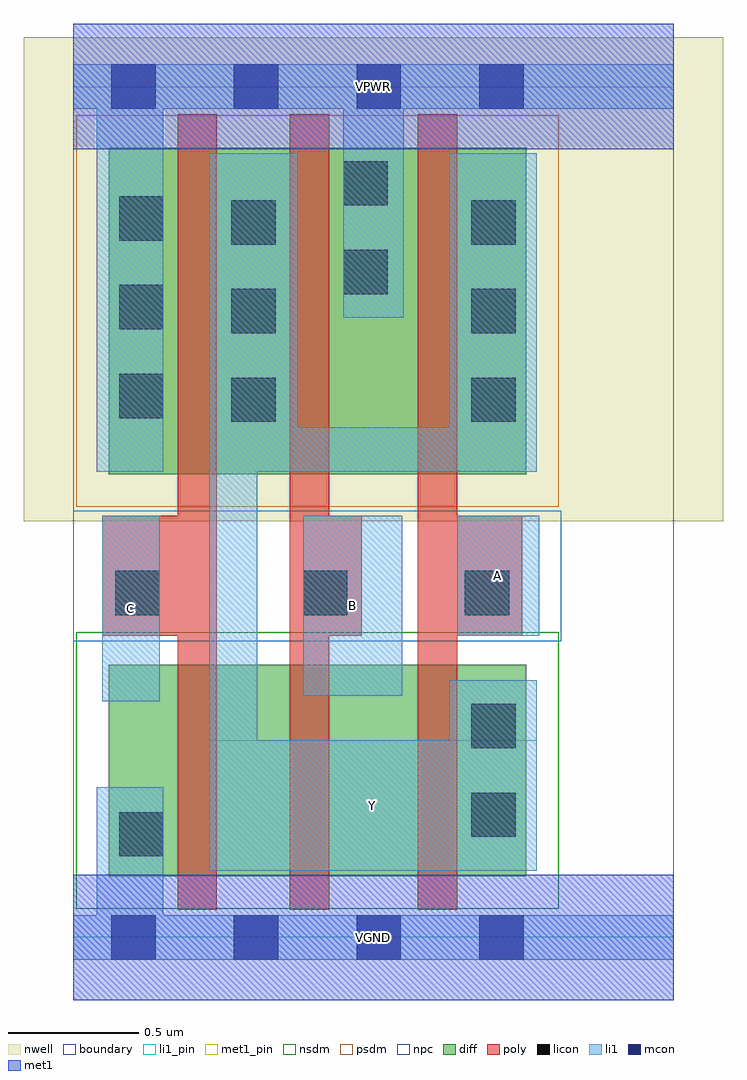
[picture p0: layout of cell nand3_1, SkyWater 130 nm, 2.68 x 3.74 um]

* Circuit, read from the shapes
.subckt nand3_1 A B C VGND VPWR Y
XM1 n1 C VGND VSUBS sky130_fd_pr__nfet_01v8 w=0.81 l=0.15
XM2 n2 B n1 VSUBS sky130_fd_pr__nfet_01v8 w=0.81 l=0.15
XM3 Y A n2 VSUBS sky130_fd_pr__nfet_01v8 w=0.81 l=0.15
XM4 Y C VPWR n3 sky130_fd_pr__pfet_01v8 w=1.25 l=0.15
XM5 VPWR B Y n3 sky130_fd_pr__pfet_01v8 w=1.25 l=0.15
XM6 Y A VPWR n3 sky130_fd_pr__pfet_01v8 w=1.25 l=0.15
.ends

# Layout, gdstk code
import gdstk
lib = gdstk.Library(unit=1e-6, precision=1e-09)
def R(c, l, rs):  # rectangles x0, y0, x1, y1
    for r in rs: c.add(gdstk.rectangle(r[:2], r[2:], *l))
def A(c, l, x, y, w, h, nx, ny, dx, dy):  # array of equal rectangles
    R(c, l, [(x+i*dx, y+j*dy, x+i*dx+w, y+j*dy+h) for i in range(nx) for j in range(ny)])
nwell = (64, 20)
diff = (65, 20)
poly = (66, 20)
licon = (66, 44)
li1_pin = (67, 16)
li1 = (67, 20)
mcon = (67, 44)
met1_pin = (68, 16)
met1 = (68, 20)
nsdm = (93, 44)
psdm = (94, 20)
npc = (95, 20)
boundary = (235, 4)

nand3_1 = lib.new_cell('nand3_1')
R(nand3_1, nwell, [(-0.19,1.595,2.49,3.45), (0,1.595,2.3,3.45)])
R(nand3_1, diff, [(0.135,0.235,1.735,1.045), (0.135,1.775,1.735,3.025)])
R(nand3_1, poly, [(0.4,0.105,0.55,3.155), (0.83,0.105,0.98,3.155), (1.32,0.105,1.47,3.155), (0.11,1.155,0.55,1.615), (0.83,1.155,1.105,1.615), (1.32,1.155,1.72,1.615)])
A(nand3_1, licon, 0.605, 1.975, 0.17, 0.17, 1, 3, 0, 0.34)
A(nand3_1, licon, 1.525, 1.975, 0.17, 0.17, 1, 3, 0, 0.34)
A(nand3_1, licon, 0.175, 1.99, 0.17, 0.17, 1, 3, 0, 0.34)
R(nand3_1, licon, [(0.175,0.31,0.345,0.48), (1.525,0.385,1.695,0.555), (1.525,0.725,1.695,0.895), (0.16,1.235,0.33,1.405), (0.88,1.235,1.05,1.405), (1.5,1.235,1.67,1.405), (1.035,2.465,1.205,2.635), (1.035,2.805,1.205,2.975)])
R(nand3_1, li1_pin, [(0.52,0.255,1.775,0.755), (0.11,0.905,0.33,1.615), (0.88,0.925,1.26,1.615), (1.47,1.155,1.785,1.615)])
R(nand3_1, li1, [(0,-0.085,2.3,0.085), (0.09,-0.085,0.345,0.575), (0.52,0.255,1.775,0.755), (0.52,0.255,0.705,3.005), (1.44,0.255,1.775,0.985), (0.11,0.905,0.33,1.615), (0.88,0.925,1.26,1.615), (1.47,1.155,1.785,1.615), (0.09,1.785,0.345,3.345), (0.52,1.785,0.86,3.005), (0.52,1.785,1.775,1.955), (1.44,1.785,1.775,3.005), (1.035,2.375,1.265,3.345), (0,3.175,2.3,3.345)])
A(nand3_1, mcon, 0.145, -0.085, 0.17, 0.17, 4, 2, 0.47, 3.26)
R(nand3_1, met1_pin, [(0,-0.24,2.3,0.24), (0,3.02,2.3,3.5)])
R(nand3_1, met1, [(0,-0.24,2.3,0.24), (0,3.02,2.3,3.5)])
R(nand3_1, nsdm, [(0.01,0.11,1.86,1.17)])
R(nand3_1, psdm, [(0.01,1.65,1.86,3.15)])
R(nand3_1, npc, [(0,1.135,1.87,1.635)])
R(nand3_1, boundary, [(0,0,2.3,3.26)])
nand3_1.add(gdstk.Label('A', (1.627,1.385), layer=67, texttype=5))
nand3_1.add(gdstk.Label('B', (1.07,1.27), layer=67, texttype=5))
nand3_1.add(gdstk.Label('C', (0.22,1.26), layer=67, texttype=5))
nand3_1.add(gdstk.Label('Y', (1.147,0.505), layer=67, texttype=5))
nand3_1.add(gdstk.Label('VPWR', (1.15,3.26), layer=68, texttype=5))
nand3_1.add(gdstk.Label('VGND', (1.15,0), layer=68, texttype=5))
nand3_1.add(gdstk.Label('A', (1.627,1.385), layer=67, texttype=16))
nand3_1.add(gdstk.Label('B', (1.07,1.27), layer=67, texttype=16))
nand3_1.add(gdstk.Label('C', (0.22,1.26), layer=67, texttype=16))
nand3_1.add(gdstk.Label('Y', (1.147,0.505), layer=67, texttype=16))
nand3_1.add(gdstk.Label('VPWR', (1.15,3.26), layer=68, texttype=16))
nand3_1.add(gdstk.Label('VGND', (1.15,0), layer=68, texttype=16))

lib.write_gds('nand3_1.gds')
